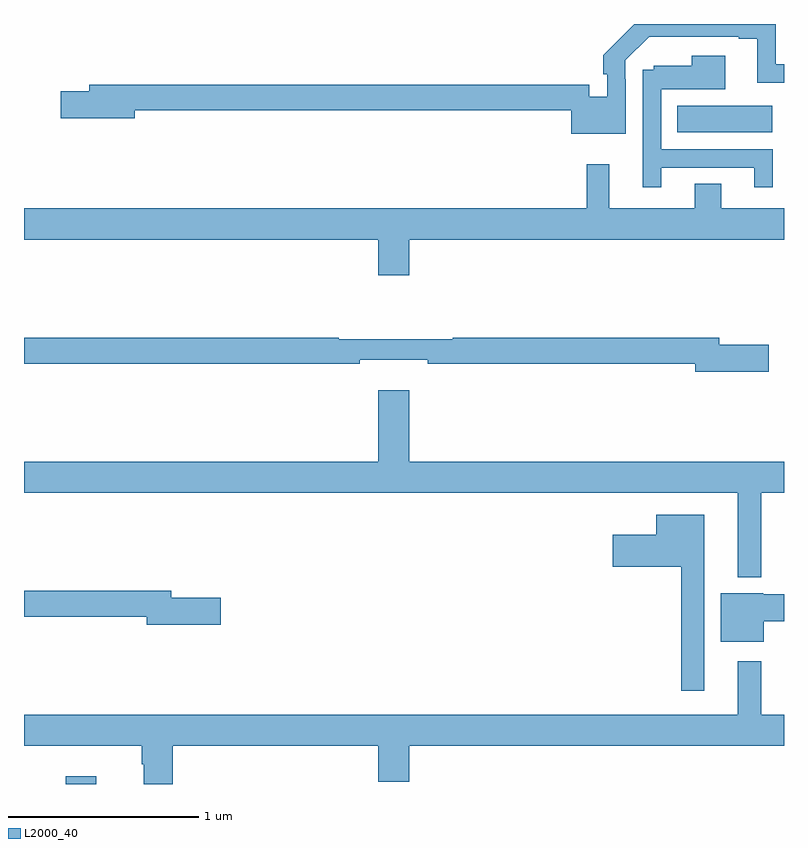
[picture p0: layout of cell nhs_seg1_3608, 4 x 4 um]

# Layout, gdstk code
import gdstk
lib = gdstk.Library(unit=1e-6, precision=1e-09)
def R(c, l, rs):  # rectangles x0, y0, x1, y1
    for r in rs: c.add(gdstk.rectangle(r[:2], r[2:], *l))
def P(c, l, *ps):  # polygons
    for p in ps: c.add(gdstk.Polygon(p, *l))
L2000_40 = (2000, 40)

nhs_seg1_3608 = lib.new_cell('nhs_seg1_3608')
R(nhs_seg1_3608, L2000_40, [(307.22,550.199,307.381,550.24), (310.438,553.628,310.939,553.768)])
P(nhs_seg1_3608, L2000_40, [(310.167,553.907),(310.164,553.907),(310.164,554.007),(310.29,554.133),(310.763,554.133),(310.763,554.121),(310.859,554.121),(310.859,553.89),(311,553.89),(311,553.986),(310.957,553.986),(310.957,554.199),(310.212,554.199),(310.049,554.035),(310.049,553.934),(310.071,553.934),(310.071,553.816),(309.975,553.816),(309.975,553.88),(307.343,553.88),(307.343,553.844),(307.194,553.844),(307.194,553.702),(307.582,553.702),(307.582,553.744),(309.879,553.744),(309.879,553.622),(310.167,553.622)],
  [(310.354,553.443),(310.844,553.443),(310.844,553.341),(310.942,553.341),(310.942,553.539),(310.353,553.539),(310.353,553.856),(310.69,553.856),(310.69,554.032),(310.514,554.032),(310.514,553.978),(310.314,553.978),(310.314,553.959),(310.257,553.959),(310.257,553.341),(310.354,553.341)],
  [(309.028,553.064),(311,553.064),(311,553.228),(310.669,553.228),(310.669,553.358),(310.529,553.358),(310.529,553.228),(310.079,553.228),(310.079,553.462),(309.961,553.462),(309.961,553.228),(307,553.228),(307,553.064),(308.864,553.064),(308.864,552.876),(309.028,552.876)],
  [(310.921,552.512),(310.66,552.512),(310.66,552.548),(309.256,552.548),(309.256,552.541),(308.656,552.541),(308.656,552.548),(307,552.548),(307,552.412),(308.768,552.412),(308.768,552.431),(309.124,552.431),(309.124,552.412),(310.532,552.412),(310.532,552.37),(310.921,552.37)],
  [(310.879,551.732),(311,551.732),(311,551.896),(309.028,551.896),(309.028,552.271),(308.864,552.271),(308.864,551.896),(307,551.896),(307,551.732),(310.757,551.732),(310.757,551.288),(310.879,551.288)],
  [(310.579,551.617),(310.328,551.617),(310.328,551.512),(310.098,551.512),(310.098,551.342),(310.458,551.342),(310.458,550.689),(310.579,550.689)],
  [(308.035,551.18),(307.774,551.18),(307.774,551.216),(307,551.216),(307,551.08),(307.646,551.08),(307.646,551.038),(308.035,551.038)],
  [(310.894,551.056),(311,551.056),(311,551.198),(310.89,551.198),(310.89,551.203),(310.667,551.203),(310.667,550.949),(310.894,550.949)],
  [(307.784,550.4),(308.864,550.4),(308.864,550.212),(309.028,550.212),(309.028,550.4),(311,550.4),(311,550.564),(310.879,550.564),(310.879,550.846),(310.757,550.846),(310.757,550.564),(307,550.564),(307,550.4),(307.619,550.4),(307.619,550.304),(307.631,550.304),(307.631,550.199),(307.784,550.199)])

lib.write_gds('nhs_seg1_3608.gds')
